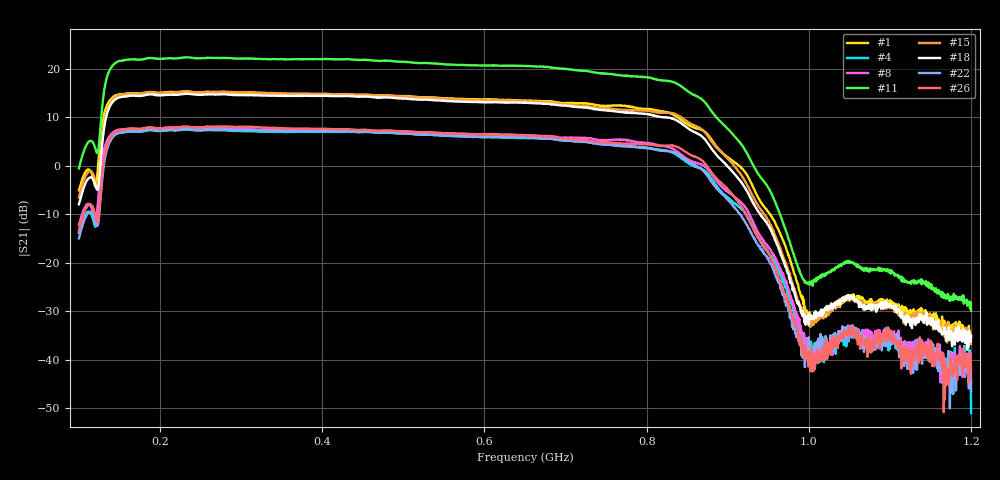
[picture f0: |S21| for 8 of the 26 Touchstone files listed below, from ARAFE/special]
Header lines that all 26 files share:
# Hz S DB R 50
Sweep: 100 MHz to 1.2 GHz
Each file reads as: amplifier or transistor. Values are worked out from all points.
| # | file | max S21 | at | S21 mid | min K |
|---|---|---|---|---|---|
| 1 | SIG1_ATT30_TN10.s2p | 15.4 dB | 232 MHz | 13.4 dB at 650 MHz | 12.99 |
| 2 | SIG1_ATT30_TN20.s2p | 15.6 dB | 229.2 MHz | 13.6 dB at 650 MHz | 14.04 |
| 3 | SIG1_ATT60_T0.s2p | 7.8 dB | 232 MHz | 6.0 dB at 650 MHz | 44.32 |
| 4 | SIG1_ATT60_T20.s2p | 7.5 dB | 232 MHz | 5.7 dB at 650 MHz | 43.96 |
| 5 | SIG1_ATT60_T30.s2p | 7.4 dB | 232 MHz | 5.6 dB at 650 MHz | 47.54 |
| 6 | SIG1_ATT60_T30_START.s2p | 7.5 dB | 232 MHz | 5.5 dB at 650 MHz | 49.63 |
| 7 | SIG1_ATT60_TN10.s2p | 8.0 dB | 232 MHz | 6.2 dB at 650 MHz | 34.25 |
| 8 | SIG1_ATT60_TN20.s2p | 8.1 dB | 229.2 MHz | 6.3 dB at 650 MHz | 39.98 |
| 9 | SIG2_ATT0_T0.s2p | 22.9 dB | 232 MHz | 21.0 dB at 650 MHz | 3.70 |
| 10 | SIG2_ATT0_T20.s2p | 22.6 dB | 232 MHz | 20.7 dB at 650 MHz | 3.89 |
| 11 | SIG2_ATT0_T30.s2p | 22.4 dB | 232 MHz | 20.6 dB at 650 MHz | 3.84 |
| 12 | SIG2_ATT0_T30_START.s2p | 22.3 dB | 231.3 MHz | 20.5 dB at 650 MHz | 3.88 |
| 13 | SIG2_ATT0_TN10.s2p | 23.1 dB | 276 MHz | 21.1 dB at 650 MHz | 3.61 |
| 14 | SIG2_ATT0_TN20.s2p | 23.2 dB | 276.7 MHz | 21.2 dB at 650 MHz | 2.64 |
| 15 | SIG2_ATT30_T0.s2p | 15.4 dB | 278.8 MHz | 13.4 dB at 650 MHz | 15.11 |
| 16 | SIG2_ATT30_T20.s2p | 15.1 dB | 230.6 MHz | 13.1 dB at 650 MHz | 15.60 |
| 17 | SIG2_ATT30_T30.s2p | 14.9 dB | 232 MHz | 13.0 dB at 650 MHz | 16.29 |
| 18 | SIG2_ATT30_T30_START.s2p | 14.9 dB | 232 MHz | 13.0 dB at 650 MHz | 15.96 |
| 19 | SIG2_ATT30_TN10.s2p | 15.5 dB | 277.4 MHz | 13.5 dB at 650 MHz | 14.61 |
| 20 | SIG2_ATT30_TN20.s2p | 15.7 dB | 277.4 MHz | 13.6 dB at 650 MHz | 13.62 |
| 21 | SIG2_ATT60_T0.s2p | 7.9 dB | 232 MHz | 6.1 dB at 650 MHz | 44.55 |
| 22 | SIG2_ATT60_T20.s2p | 7.6 dB | 229.2 MHz | 5.9 dB at 650 MHz | 45.20 |
| 23 | SIG2_ATT60_T30.s2p | 7.5 dB | 232 MHz | 5.8 dB at 650 MHz | 48.90 |
| 24 | SIG2_ATT60_T30_START.s2p | 7.4 dB | 232 MHz | 5.6 dB at 650 MHz | 44.10 |
| 25 | SIG2_ATT60_TN10.s2p | 8.0 dB | 276.7 MHz | 6.2 dB at 650 MHz | 41.12 |
| 26 | SIG2_ATT60_TN20.s2p | 8.2 dB | 276.7 MHz | 6.3 dB at 650 MHz | 42.50 |
